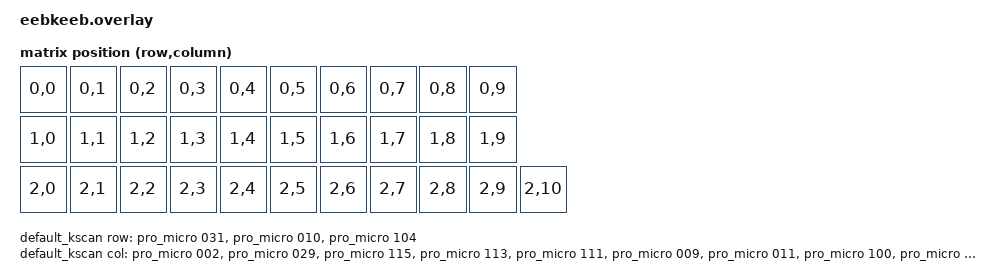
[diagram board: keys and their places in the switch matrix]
#include <dt-bindings/zmk/matrix_transform.h>

/ {
    chosen {
        zmk,kscan = &default_kscan;
        zmk,matrix_transform = &default_transform;
    };

    default_kscan: kscan {
        compatible = "zmk,kscan-gpio-matrix";
        label = "default_kscan";
        diode-direction = "col2row";

        row-gpios = <&pro_micro 031 (GPIO_ACTIVE_HIGH | GPIO_PULL_DOWN)>,
                    <&pro_micro 010 (GPIO_ACTIVE_HIGH | GPIO_PULL_DOWN)>,
                    <&pro_micro 104 (GPIO_ACTIVE_HIGH | GPIO_PULL_DOWN)>;

        col-gpios = <&pro_micro 002 GPIO_ACTIVE_HIGH>,
                    <&pro_micro 029 GPIO_ACTIVE_HIGH>,
                    <&pro_micro 115 GPIO_ACTIVE_HIGH>,
                    <&pro_micro 113 GPIO_ACTIVE_HIGH>,
                    <&pro_micro 111 GPIO_ACTIVE_HIGH>,
                    <&pro_micro 009 GPIO_ACTIVE_HIGH>,
                    <&pro_micro 011 GPIO_ACTIVE_HIGH>,
                    <&pro_micro 100 GPIO_ACTIVE_HIGH>,
                    <&pro_micro 024 GPIO_ACTIVE_HIGH>,
                    <&pro_micro 022 GPIO_ACTIVE_HIGH>,
                    <&pro_micro 106 GPIO_ACTIVE_HIGH>;
    };

    default_transform: matrix_transform {
        compatible = "zmk,matrix-transform";
        rows = <3>;
        columns = <11>;

        map = <
            RC(0,0) RC(0,1) RC(0,2) RC(0,3) RC(0,4) RC(0,5) RC(0,6) RC(0,7) RC(0,8) RC(0,9)
            RC(1,0) RC(1,1) RC(1,2) RC(1,3) RC(1,4) RC(1,5) RC(1,6) RC(1,7) RC(1,8) RC(1,9)
            RC(2,0) RC(2,1) RC(2,2) RC(2,3) RC(2,4) RC(2,5) RC(2,6) RC(2,7) RC(2,8) RC(2,9) RC(2,10)
        >;
    };
};
